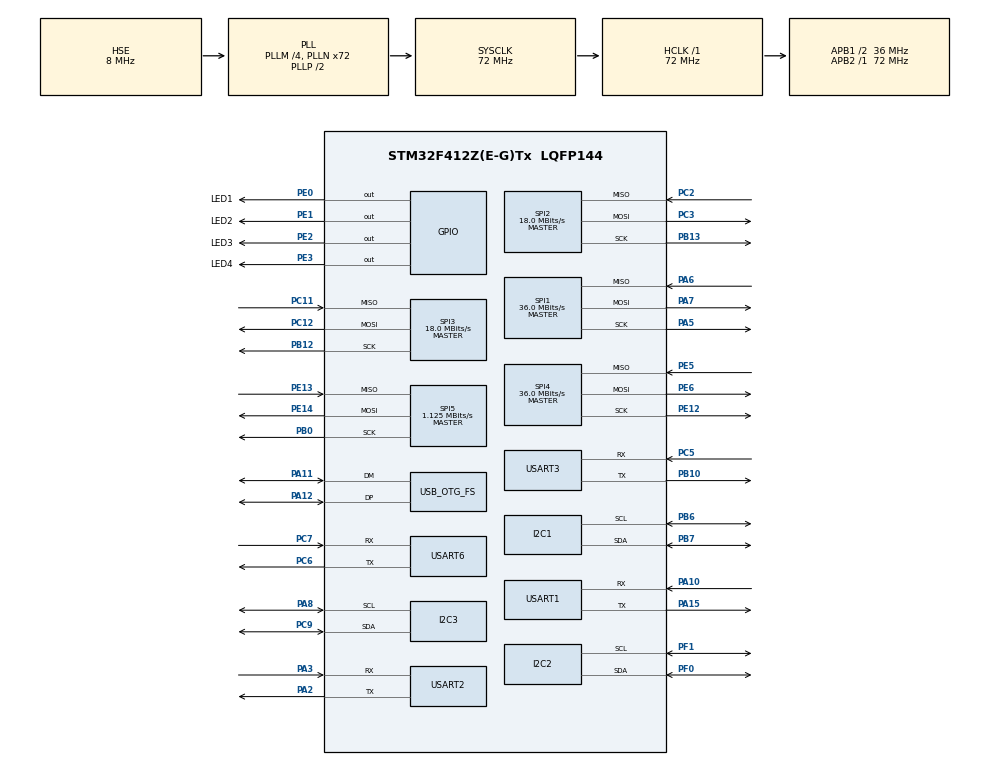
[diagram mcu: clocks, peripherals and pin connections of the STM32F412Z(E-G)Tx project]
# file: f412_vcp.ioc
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Mcu.Family=STM32F4
NVIC.USART3_IRQn=true\:0\:0\:false\:false\:true\:true\:true
PC3.Mode=Full_Duplex_Master
PA6.Mode=Full_Duplex_Master
USB_DEVICE.CLASS_NAME_FS=CDC
RCC.CortexFreq_Value=72000000
SPI3.Direction=SPI_DIRECTION_2LINES
SPI4.VirtualType=VM_MASTER
SPI3.VirtualType=VM_MASTER
SPI1.VirtualType=VM_MASTER
SPI2.VirtualType=VM_MASTER
PB10.Mode=Asynchronous
PC12.Signal=SPI3_MOSI
SPI4.Direction=SPI_DIRECTION_2LINES
PE1.PinState=GPIO_PIN_RESET
PA11.Mode=Device_Only
PC5.Mode=Asynchronous
PB13.Signal=SPI2_SCK
RCC.SYSCLKSource=RCC_SYSCLKSOURCE_PLLCLK
ProjectManager.StackSize=0x400
PE1.GPIO_ModeDefaultOutputPP=GPIO_MODE_OUTPUT_PP
PA12.Signal=USB_OTG_FS_DP
PH0\ -\ OSC_IN.Signal=RCC_OSC_IN
SPI4.Mode=SPI_MODE_MASTER
SPI1.Direction=SPI_DIRECTION_2LINES
RCC.HCLKFreq_Value=72000000
RCC.APB2TimFreq_Value=72000000
PB6.Signal=I2C1_SCL
PC7.Signal=USART6_RX
PB6.Mode=I2C
SPI1.CalculateBaudRate=36.0 MBits/s
PC3.Signal=SPI2_MOSI
PE5.Signal=SPI4_MISO
PE1.Signal=GPIO_Output
RCC.AHBFreq_Value=72000000
RCC.HSE_VALUE=8000000
PE2.GPIO_ModeDefaultOutputPP=GPIO_MODE_OUTPUT_PP
PA15.Mode=Asynchronous
PE13.Signal=SPI5_MISO
PC14-OSC32_IN.Mode=LSE-External-Oscillator
PA14.Mode=Serial_Wire
PC9.Mode=I2C
SPI2.CalculateBaudRate=18.0 MBits/s
PE2.Signal=GPIO_Output
PB7.Signal=I2C1_SDA
PA8.Signal=I2C3_SCL
PE13.Mode=Full_Duplex_Master
Mcu.Package=LQFP144
SPI5.BaudRatePrescaler=SPI_BAUDRATEPRESCALER_64
PA6.Signal=SPI1_MISO
PB12.Mode=Full_Duplex_Master
SPI2.Mode=SPI_MODE_MASTER
SPI3.Mode=SPI_MODE_MASTER
USART2.VirtualMode=VM_ASYNC
USART6.VirtualMode=VM_ASYNC
RCC.EnbaleCSS=true
NVIC.OTG_FS_IRQn=true\:0\:0\:false\:false\:true\:true\:true
PA10.Signal=USART1_RX
USB_OTG_FS.VirtualMode=Device_Only
PA15.Signal=USART1_TX
PC11.Mode=Full_Duplex_Master
PE0.GPIO_Label=LED1
SPI5.CalculateBaudRate=1.125 MBits/s
RCC.APB1TimFreq_Value=72000000
SPI2.Direction=SPI_DIRECTION_2LINES
PF0.Signal=I2C2_SDA
PC5.Signal=USART3_RX
PB13.Mode=Full_Duplex_Master
NVIC.USART1_IRQn=true\:0\:0\:false\:false\:true\:true\:true
PE2.GPIO_Label=LED3
SPI5.VirtualType=VM_MASTER
PA3.Signal=USART2_RX
PA5.Mode=Full_Duplex_Master
PE12.Mode=Full_Duplex_Master
RCC.PLLSourceVirtual=RCC_PLLSOURCE_HSE
PC15-OSC32_OUT.Mode=LSE-External-Oscillator
PE0.GPIO_ModeDefaultOutputPP=GPIO_MODE_OUTPUT_PP
PA7.Mode=Full_Duplex_Master
PA10.Mode=Asynchronous
USB_DEVICE.VirtualModeFS=Cdc_FS
PC11.Signal=SPI3_MISO
PH1\ -\ OSC_OUT.Mode=HSE-External-Oscillator
PC2.Signal=SPI2_MISO
PC6.Signal=USART6_TX
PC2.Mode=Full_Duplex_Master
RCC.APB1CLKDivider=RCC_HCLK_DIV2
PC14-OSC32_IN.Signal=RCC_OSC32_IN
NVIC.USART2_IRQn=true\:0\:0\:false\:false\:true\:true\:true
SPI5.Mode=SPI_MODE_MASTER
NVIC.USART6_IRQn=true\:0\:0\:false\:false\:true\:true\:true
PA13.Signal=SYS_JTMS-SWDIO
PA3.Mode=Asynchronous
PF1.Mode=I2C
PH0\ -\ OSC_IN.Mode=HSE-External-Oscillator
ProjectManager.TargetToolchain=STM32CubeIDE
PC6.Mode=Asynchronous
VP_USB_DEVICE_VS_USB_DEVICE_CDC_FS.Mode=CDC_FS
RCC.USBFreq_Value=48000000
PC15-OSC32_OUT.Signal=RCC_OSC32_OUT
PB10.Signal=USART3_TX
PA5.Signal=SPI1_SCK
PC12.Mode=Full_Duplex_Master
PH1\ -\ OSC_OUT.Signal=RCC_OSC_OUT
PB0.Mode=Full_Duplex_Master
board=STM32F412G-DISCO
RCC.VCOOutputFreq_Value=144000000
PE1.GPIO_Label=LED2
RCC.APB2Freq_Value=72000000
PE14.Signal=SPI5_MOSI
SPI3.CalculateBaudRate=18.0 MBits/s
PE6.Mode=Full_Duplex_Master
SPI1.Mode=SPI_MODE_MASTER
PE14.Mode=Full_Duplex_Master
PE5.Mode=Full_Duplex_Master
SPI4.CalculateBaudRate=36.0 MBits/s
PF1.Signal=I2C2_SCL
PE6.Signal=SPI4_MOSI
PA13.Mode=Serial_Wire
Mcu.Name=STM32F412Z(E-G)Tx
PE0.Signal=GPIO_Output
PE12.Signal=SPI4_SCK
PA2.Signal=USART2_TX
RCC.48MHZClocksFreq_Value=48000000
RCC.SYSCLKFreq_VALUE=72000000
PA12.Mode=Device_Only
USART3.VirtualMode=VM_ASYNC
PE3.GPIO_ModeDefaultOutputPP=GPIO_MODE_OUTPUT_PP
USART1.VirtualMode=VM_ASYNC
PB7.Mode=I2C
PA11.Signal=USB_OTG_FS_DM
PA14.Signal=SYS_JTCK-SWCLK
ProjectManager.HeapSize=0x200
PF0.Mode=I2C
RCC.HSI_VALUE=16000000
RCC.PLLQ=3
NVIC.PriorityGroup=NVIC_PRIORITYGROUP_4
RCC.PLLM=4
RCC.PLLN=72
PE3.Signal=GPIO_Output
PA2.Mode=Asynchronous
PE3.GPIO_Label=LED4
PA8.Mode=I2C
PC9.Signal=I2C3_SDA
PC7.Mode=Asynchronous
RCC.APB1Freq_Value=36000000
PB0.Signal=SPI5_SCK
USB_DEVICE.VirtualMode=Cdc
RCC.PLLI2SN=50
PB12.Signal=SPI3_SCK
SPI5.Direction=SPI_DIRECTION_2LINES
RCC.PLLI2SM=4
PA7.Signal=SPI1_MOSI

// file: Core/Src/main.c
/* USER CODE BEGIN Header */
/**
  ******************************************************************************
  * @file           : main.c
  * @brief          : Main program body
  ******************************************************************************
  * @attention
  *
  * <h2><center>&copy; Copyright (c) 2021 STMicroelectronics.
  * All rights reserved.</center></h2>
  *
  * This software component is licensed by ST under BSD 3-Clause license,
  * the "License"; You may not use this file except in compliance with the
  * License. You may obtain a copy of the License at:
  *                        opensource.org/licenses/BSD-3-Clause
  *
  ******************************************************************************
  */
/* USER CODE END Header */
#include "main.h"
#include "usb_device.h"

/* USER CODE BEGIN Includes */
#include "string.h"

#include "gpio.h"
#include "usart.h"
/* USER CODE END Includes */

I2C_HandleTypeDef hi2c1;
I2C_HandleTypeDef hi2c2;
I2C_HandleTypeDef hi2c3;

SPI_HandleTypeDef hspi1;
SPI_HandleTypeDef hspi2;
SPI_HandleTypeDef hspi3;
SPI_HandleTypeDef hspi4;
SPI_HandleTypeDef hspi5;

UART_HandleTypeDef huart1;
UART_HandleTypeDef huart2;
UART_HandleTypeDef huart3;
UART_HandleTypeDef huart6;

/* USER CODE BEGIN PV */
uint8_t buffer[2048] = {0};
uint8_t usart_buffer[22];

extern int USART_R[];
extern UART_HandleTypeDef dumb;
extern char *usarts[];

unsigned char hostID = 0xFF;
unsigned char peripheralGROUP = 0xFF;
unsigned char peripheralID = 0x01;
unsigned char PROCESS = 0xFF;
unsigned char COMMAND = 0x12;
/* USER CODE END PV */

void SystemClock_Config(void);
static void MX_GPIO_Init(void);
static void MX_I2C1_Init(void);
static void MX_I2C2_Init(void);
static void MX_I2C3_Init(void);
static void MX_USART1_UART_Init(void);
static void MX_USART2_UART_Init(void);
static void MX_USART3_UART_Init(void);
static void MX_USART6_UART_Init(void);
static void MX_SPI1_Init(void);
static void MX_SPI2_Init(void);
static void MX_SPI3_Init(void);
static void MX_SPI4_Init(void);
static void MX_SPI5_Init(void);
/* USER CODE BEGIN PFP */
void USART_Receive_IT(unsigned char peripheralID);
void USART_CDC_Transmit(unsigned char peripheralID);
void data_received(uint8_t* data, uint32_t *Len);
uint8_t data_check(uint8_t data[]);
void PROCESS_INIT(uint8_t data[]);

extern uint8_t CDC_Transmit_FS(uint8_t* Buf, uint16_t Len);
/* USER CODE END PFP */

int main(void)
{

  /* MCU Configuration--------------------------------------------------------*/

  /* Reset of all peripherals, Initializes the Flash interface and the Systick. */
  HAL_Init();

  /* Configure the system clock */
  SystemClock_Config();

  /* Initialize all configured peripherals */
  MX_GPIO_Init();
  MX_USB_DEVICE_Init();
  MX_I2C1_Init();
  MX_I2C2_Init();
  MX_I2C3_Init();
  MX_USART1_UART_Init();
  MX_USART2_UART_Init();
  MX_USART3_UART_Init();
  MX_USART6_UART_Init();
  MX_SPI1_Init();
  MX_SPI2_Init();
  MX_SPI3_Init();
  MX_SPI4_Init();
  MX_SPI5_Init();

  /* Infinite loop */
  /* USER CODE BEGIN WHILE */
  while (1)
  {
	  HAL_UART_Receive_IT(&huart1, usart_buffer, sizeof(usart_buffer));
	  HAL_UART_Receive_IT(&huart2, usart_buffer, sizeof(usart_buffer));
	  HAL_UART_Receive_IT(&huart3, usart_buffer, sizeof(usart_buffer));
	  HAL_UART_Receive_IT(&huart6, usart_buffer, sizeof(usart_buffer));
    /* USER CODE END WHILE */

  }
}

void SystemClock_Config(void)
{
  RCC_OscInitTypeDef RCC_OscInitStruct = {0};
  RCC_ClkInitTypeDef RCC_ClkInitStruct = {0};
  RCC_PeriphCLKInitTypeDef PeriphClkInitStruct = {0};

  /** Configure the main internal regulator output voltage
  */
  __HAL_RCC_PWR_CLK_ENABLE();
  __HAL_PWR_VOLTAGESCALING_CONFIG(PWR_REGULATOR_VOLTAGE_SCALE1);
  /** Initializes the RCC Oscillators according to the specified parameters
  * in the RCC_OscInitTypeDef structure.
  */
  RCC_OscInitStruct.OscillatorType = RCC_OSCILLATORTYPE_HSE;
  RCC_OscInitStruct.HSEState = RCC_HSE_ON;
  RCC_OscInitStruct.PLL.PLLState = RCC_PLL_ON;
  RCC_OscInitStruct.PLL.PLLSource = RCC_PLLSOURCE_HSE;
  RCC_OscInitStruct.PLL.PLLM = 4;
  RCC_OscInitStruct.PLL.PLLN = 72;
  RCC_OscInitStruct.PLL.PLLP = RCC_PLLP_DIV2;
  RCC_OscInitStruct.PLL.PLLQ = 3;
  RCC_OscInitStruct.PLL.PLLR = 2;
  if (HAL_RCC_OscConfig(&RCC_OscInitStruct) != HAL_OK)
  {
    Error_Handler();
  }
  /** Initializes the CPU, AHB and APB buses clocks
  */
  RCC_ClkInitStruct.ClockType = RCC_CLOCKTYPE_HCLK|RCC_CLOCKTYPE_SYSCLK
                              |RCC_CLOCKTYPE_PCLK1|RCC_CLOCKTYPE_PCLK2;
  RCC_ClkInitStruct.SYSCLKSource = RCC_SYSCLKSOURCE_PLLCLK;
  RCC_ClkInitStruct.AHBCLKDivider = RCC_SYSCLK_DIV1;
  RCC_ClkInitStruct.APB1CLKDivider = RCC_HCLK_DIV2;
  RCC_ClkInitStruct.APB2CLKDivider = RCC_HCLK_DIV1;

  if (HAL_RCC_ClockConfig(&RCC_ClkInitStruct, FLASH_LATENCY_2) != HAL_OK)
  {
    Error_Handler();
  }
  PeriphClkInitStruct.PeriphClockSelection = RCC_PERIPHCLK_CLK48;
  PeriphClkInitStruct.Clk48ClockSelection = RCC_CLK48CLKSOURCE_PLLQ;
  if (HAL_RCCEx_PeriphCLKConfig(&PeriphClkInitStruct) != HAL_OK)
  {
    Error_Handler();
  }
  /** Enables the Clock Security System
  */
  HAL_RCC_EnableCSS();
}

static void MX_I2C1_Init(void)
{

  hi2c1.Instance = I2C1;
  hi2c1.Init.ClockSpeed = 100000;
  hi2c1.Init.DutyCycle = I2C_DUTYCYCLE_2;
  hi2c1.Init.OwnAddress1 = 0;
  hi2c1.Init.AddressingMode = I2C_ADDRESSINGMODE_7BIT;
  hi2c1.Init.DualAddressMode = I2C_DUALADDRESS_DISABLE;
  hi2c1.Init.OwnAddress2 = 0;
  hi2c1.Init.GeneralCallMode = I2C_GENERALCALL_DISABLE;
  hi2c1.Init.NoStretchMode = I2C_NOSTRETCH_DISABLE;
  if (HAL_I2C_Init(&hi2c1) != HAL_OK)
  {
    Error_Handler();
  }

}

static void MX_I2C2_Init(void)
{

  hi2c2.Instance = I2C2;
  hi2c2.Init.ClockSpeed = 100000;
  hi2c2.Init.DutyCycle = I2C_DUTYCYCLE_2;
  hi2c2.Init.OwnAddress1 = 0;
  hi2c2.Init.AddressingMode = I2C_ADDRESSINGMODE_7BIT;
  hi2c2.Init.DualAddressMode = I2C_DUALADDRESS_DISABLE;
  hi2c2.Init.OwnAddress2 = 0;
  hi2c2.Init.GeneralCallMode = I2C_GENERALCALL_DISABLE;
  hi2c2.Init.NoStretchMode = I2C_NOSTRETCH_DISABLE;
  if (HAL_I2C_Init(&hi2c2) != HAL_OK)
  {
    Error_Handler();
  }

}

static void MX_I2C3_Init(void)
{

  hi2c3.Instance = I2C3;
  hi2c3.Init.ClockSpeed = 100000;
  hi2c3.Init.DutyCycle = I2C_DUTYCYCLE_2;
  hi2c3.Init.OwnAddress1 = 0;
  hi2c3.Init.AddressingMode = I2C_ADDRESSINGMODE_7BIT;
  hi2c3.Init.DualAddressMode = I2C_DUALADDRESS_DISABLE;
  hi2c3.Init.OwnAddress2 = 0;
  hi2c3.Init.GeneralCallMode = I2C_GENERALCALL_DISABLE;
  hi2c3.Init.NoStretchMode = I2C_NOSTRETCH_DISABLE;
  if (HAL_I2C_Init(&hi2c3) != HAL_OK)
  {
    Error_Handler();
  }

}

static void MX_SPI1_Init(void)
{

  /* SPI1 parameter configuration*/
  hspi1.Instance = SPI1;
  hspi1.Init.Mode = SPI_MODE_MASTER;
  hspi1.Init.Direction = SPI_DIRECTION_2LINES;
  hspi1.Init.DataSize = SPI_DATASIZE_8BIT;
  hspi1.Init.CLKPolarity = SPI_POLARITY_LOW;
  hspi1.Init.CLKPhase = SPI_PHASE_1EDGE;
  hspi1.Init.NSS = SPI_NSS_SOFT;
  hspi1.Init.BaudRatePrescaler = SPI_BAUDRATEPRESCALER_2;
  hspi1.Init.FirstBit = SPI_FIRSTBIT_MSB;
  hspi1.Init.TIMode = SPI_TIMODE_DISABLE;
  hspi1.Init.CRCCalculation = SPI_CRCCALCULATION_DISABLE;
  hspi1.Init.CRCPolynomial = 10;
  if (HAL_SPI_Init(&hspi1) != HAL_OK)
  {
    Error_Handler();
  }

}

static void MX_SPI2_Init(void)
{

  /* SPI2 parameter configuration*/
  hspi2.Instance = SPI2;
  hspi2.Init.Mode = SPI_MODE_MASTER;
  hspi2.Init.Direction = SPI_DIRECTION_2LINES;
  hspi2.Init.DataSize = SPI_DATASIZE_8BIT;
  hspi2.Init.CLKPolarity = SPI_POLARITY_LOW;
  hspi2.Init.CLKPhase = SPI_PHASE_1EDGE;
  hspi2.Init.NSS = SPI_NSS_SOFT;
  hspi2.Init.BaudRatePrescaler = SPI_BAUDRATEPRESCALER_2;
  hspi2.Init.FirstBit = SPI_FIRSTBIT_MSB;
  hspi2.Init.TIMode = SPI_TIMODE_DISABLE;
  hspi2.Init.CRCCalculation = SPI_CRCCALCULATION_DISABLE;
  hspi2.Init.CRCPolynomial = 10;
  if (HAL_SPI_Init(&hspi2) != HAL_OK)
  {
    Error_Handler();
  }

}

static void MX_SPI3_Init(void)
{

  /* SPI3 parameter configuration*/
  hspi3.Instance = SPI3;
  hspi3.Init.Mode = SPI_MODE_MASTER;
  hspi3.Init.Direction = SPI_DIRECTION_2LINES;
  hspi3.Init.DataSize = SPI_DATASIZE_8BIT;
  hspi3.Init.CLKPolarity = SPI_POLARITY_LOW;
  hspi3.Init.CLKPhase = SPI_PHASE_1EDGE;
  hspi3.Init.NSS = SPI_NSS_SOFT;
  hspi3.Init.BaudRatePrescaler = SPI_BAUDRATEPRESCALER_2;
  hspi3.Init.FirstBit = SPI_FIRSTBIT_MSB;
  hspi3.Init.TIMode = SPI_TIMODE_DISABLE;
  hspi3.Init.CRCCalculation = SPI_CRCCALCULATION_DISABLE;
  hspi3.Init.CRCPolynomial = 10;
  if (HAL_SPI_Init(&hspi3) != HAL_OK)
  {
    Error_Handler();
  }

}

static void MX_SPI4_Init(void)
{

  /* SPI4 parameter configuration*/
  hspi4.Instance = SPI4;
  hspi4.Init.Mode = SPI_MODE_MASTER;
  hspi4.Init.Direction = SPI_DIRECTION_2LINES;
  hspi4.Init.DataSize = SPI_DATASIZE_8BIT;
  hspi4.Init.CLKPolarity = SPI_POLARITY_LOW;
  hspi4.Init.CLKPhase = SPI_PHASE_1EDGE;
  hspi4.Init.NSS = SPI_NSS_SOFT;
  hspi4.Init.BaudRatePrescaler = SPI_BAUDRATEPRESCALER_2;
  hspi4.Init.FirstBit = SPI_FIRSTBIT_MSB;
  hspi4.Init.TIMode = SPI_TIMODE_DISABLE;
  hspi4.Init.CRCCalculation = SPI_CRCCALCULATION_DISABLE;
  hspi4.Init.CRCPolynomial = 10;
  if (HAL_SPI_Init(&hspi4) != HAL_OK)
  {
    Error_Handler();
  }

}

static void MX_SPI5_Init(void)
{

  /* SPI5 parameter configuration*/
  hspi5.Instance = SPI5;
  hspi5.Init.Mode = SPI_MODE_MASTER;
  hspi5.Init.Direction = SPI_DIRECTION_2LINES;
  hspi5.Init.DataSize = SPI_DATASIZE_8BIT;
  hspi5.Init.CLKPolarity = SPI_POLARITY_LOW;
  hspi5.Init.CLKPhase = SPI_PHASE_1EDGE;
  hspi5.Init.NSS = SPI_NSS_SOFT;
  hspi5.Init.BaudRatePrescaler = SPI_BAUDRATEPRESCALER_64;
  hspi5.Init.FirstBit = SPI_FIRSTBIT_MSB;
  hspi5.Init.TIMode = SPI_TIMODE_DISABLE;
  hspi5.Init.CRCCalculation = SPI_CRCCALCULATION_DISABLE;
  hspi5.Init.CRCPolynomial = 10;
  if (HAL_SPI_Init(&hspi5) != HAL_OK)
  {
    Error_Handler();
  }

}

static void MX_USART1_UART_Init(void)
{

  huart1.Instance = USART1;
  huart1.Init.BaudRate = 115200;
  huart1.Init.WordLength = UART_WORDLENGTH_8B;
  huart1.Init.StopBits = UART_STOPBITS_1;
  huart1.Init.Parity = UART_PARITY_NONE;
  huart1.Init.Mode = UART_MODE_TX_RX;
  huart1.Init.HwFlowCtl = UART_HWCONTROL_NONE;
  huart1.Init.OverSampling = UART_OVERSAMPLING_16;
  if (HAL_UART_Init(&huart1) != HAL_OK)
  {
    Error_Handler();
  }

}

static void MX_USART2_UART_Init(void)
{

  huart2.Instance = USART2;
  huart2.Init.BaudRate = 115200;
  huart2.Init.WordLength = UART_WORDLENGTH_8B;
  huart2.Init.StopBits = UART_STOPBITS_1;
  huart2.Init.Parity = UART_PARITY_NONE;
  huart2.Init.Mode = UART_MODE_TX_RX;
  huart2.Init.HwFlowCtl = UART_HWCONTROL_NONE;
  huart2.Init.OverSampling = UART_OVERSAMPLING_16;
  if (HAL_UART_Init(&huart2) != HAL_OK)
  {
    Error_Handler();
  }

}

static void MX_USART3_UART_Init(void)
{

  huart3.Instance = USART3;
  huart3.Init.BaudRate = 115200;
  huart3.Init.WordLength = UART_WORDLENGTH_8B;
  huart3.Init.StopBits = UART_STOPBITS_1;
  huart3.Init.Parity = UART_PARITY_NONE;
  huart3.Init.Mode = UART_MODE_TX_RX;
  huart3.Init.HwFlowCtl = UART_HWCONTROL_NONE;
  huart3.Init.OverSampling = UART_OVERSAMPLING_16;
  if (HAL_UART_Init(&huart3) != HAL_OK)
  {
    Error_Handler();
  }

}

static void MX_USART6_UART_Init(void)
{

  huart6.Instance = USART6;
  huart6.Init.BaudRate = 115200;
  huart6.Init.WordLength = UART_WORDLENGTH_8B;
  huart6.Init.StopBits = UART_STOPBITS_1;
  huart6.Init.Parity = UART_PARITY_NONE;
  huart6.Init.Mode = UART_MODE_TX_RX;
  huart6.Init.HwFlowCtl = UART_HWCONTROL_NONE;
  huart6.Init.OverSampling = UART_OVERSAMPLING_16;
  if (HAL_UART_Init(&huart6) != HAL_OK)
  {
    Error_Handler();
  }

}

static void MX_GPIO_Init(void)
{
  GPIO_InitTypeDef GPIO_InitStruct = {0};

  /* GPIO Ports Clock Enable */
  __HAL_RCC_GPIOE_CLK_ENABLE();
  __HAL_RCC_GPIOC_CLK_ENABLE();
  __HAL_RCC_GPIOF_CLK_ENABLE();
  __HAL_RCC_GPIOH_CLK_ENABLE();
  __HAL_RCC_GPIOA_CLK_ENABLE();
  __HAL_RCC_GPIOB_CLK_ENABLE();

  /*Configure GPIO pin Output Level */
  HAL_GPIO_WritePin(GPIOE, LED3_Pin|LED4_Pin|LED1_Pin|LED2_Pin, GPIO_PIN_RESET);

  /*Configure GPIO pins : LED3_Pin LED4_Pin LED1_Pin LED2_Pin */
  GPIO_InitStruct.Pin = LED3_Pin|LED4_Pin|LED1_Pin|LED2_Pin;
  GPIO_InitStruct.Mode = GPIO_MODE_OUTPUT_PP;
  GPIO_InitStruct.Pull = GPIO_NOPULL;
  GPIO_InitStruct.Speed = GPIO_SPEED_FREQ_LOW;
  HAL_GPIO_Init(GPIOE, &GPIO_InitStruct);

}

/* USER CODE BEGIN 4 */
/* Transmit data received from USART to USB */
void USART_CDC_Transmit(unsigned char peripheralID)
{
	char cdc_transmit_buffer[35] = "";

	sprintf(cdc_transmit_buffer, "From %s, %s", usarts[peripheralID], usart_buffer);
	CDC_Transmit_FS((uint8_t *)&cdc_transmit_buffer, strlen(cdc_transmit_buffer));
}

/* USART receive function */
void USART_Receive_IT(unsigned char peripheralID)
{
	if (peripheralID <= 0x06)
	{
		UART_HandleTypeDef uart[7] = {dumb,huart1,huart2,huart3,dumb,dumb,huart6};
		HAL_UART_Receive_IT(&(uart[peripheralID]), usart_buffer, sizeof(usart_buffer));
	}
}

/* USART receive callback */
void HAL_UART_RxCpltCallback(UART_HandleTypeDef *huart)
{
	if(peripheralGROUP == 0x20 && USART_R[peripheralID] == 1)
	{
		USART_Receive_IT(peripheralID);
		USART_CDC_Transmit(peripheralID);
	}
}

/* USB receive function */
void data_received(uint8_t* data, uint32_t *Len)
{
	uint8_t len = (uint8_t)*Len;

	memset (buffer, '\0', sizeof(buffer));
	memcpy(buffer, data, len);

	if(data_check(data) == 0)
	{
	  PROCESS_INIT(data);
	}

	else
	{
	  CDC_Transmit_FS((uint8_t *)"Error: Incorrect data.\n", strlen("Error: Incorrect data.\n"));
	}

	memset (data, '\0', len);
}

/* Checksum check */
uint8_t data_check(uint8_t data[])
{
	uint8_t checksum = data[0];

	for (int i = 1; i < 64; i++)
	{
		checksum ^= data[i];
	}

	return checksum;
}

/* Process Initialization */
void PROCESS_INIT(uint8_t data[])
{
	hostID = data[0];
	peripheralGROUP = data[1];
	peripheralID = data[2];
	PROCESS = data[3];
	COMMAND = data[4];

	if(peripheralGROUP >= 0x10 && peripheralGROUP < 0x20)
	{
		//GPIO Control
		GPIO_Main(peripheralGROUP, peripheralID, PROCESS, COMMAND);
	}

	else if(peripheralGROUP >= 0x20 && peripheralGROUP < 0x30)
	{
		//USART Control
		USART_Main(peripheralID, PROCESS, COMMAND);
	}

	else if(peripheralGROUP >= 0x30 && peripheralGROUP < 0x40)
	{
		//I2C Control
		//I2C_Main(peripheralID, PROCESS, COMMAND);
	}

	else if(peripheralGROUP >= 0x40 && peripheralGROUP < 0x50)
	{
		//SPI Control
		//SPI_Main(peripheralID, PROCESS, COMMAND);
	}
}
/* USER CODE END 4 */

void Error_Handler(void)
{
  __disable_irq();
  while (1)
  {
  }
}

/************************ (C) COPYRIGHT STMicroelectronics *****END OF FILE****/
